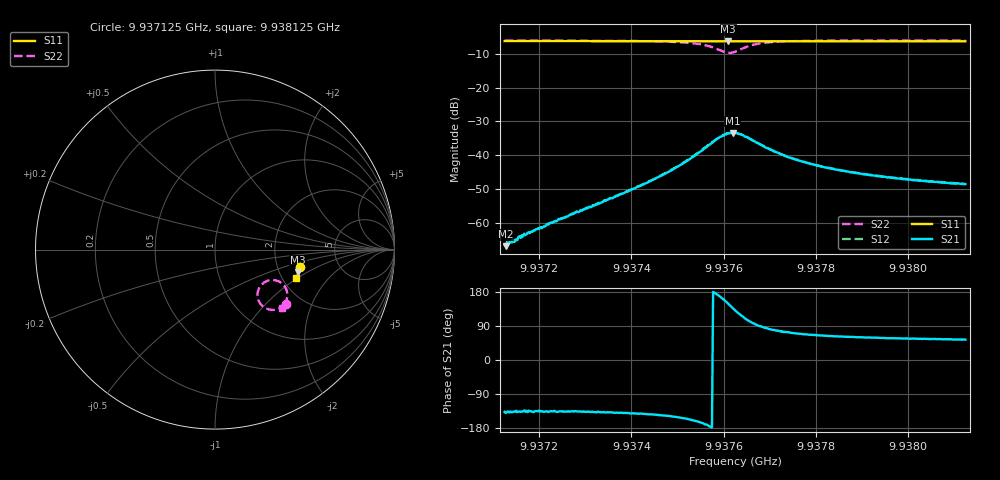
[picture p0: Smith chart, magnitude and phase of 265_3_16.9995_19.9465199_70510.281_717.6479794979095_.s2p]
#  HZ  S  RI  R  50.00
! Rohde & Schwarz Vector Network Analyzer
! Rohde-Schwarz,ZNB20-2Port,1311601062101988,3.16
! Created: UTC 3/20/2024, 11:03:57 PM
! freq[Hz]  re:S11  im:S11  re:S21  im:S21  re:S12  im:S12  re:S22  im:S22
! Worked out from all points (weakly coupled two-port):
!   401 points, 9.937125 GHz to 9.938125 GHz, reference 50 ohm
!   highest |S21| = -33.38 dB at 9.93762 GHz (marker M1); lowest = -66.8 dB at 9.937127 GHz (marker M2)
!   lowest |S11| = -6.4 dB at 9.93761 GHz (marker M3), VSWR 2.84, Z = 126 - j41.6 ohm
!   |S11| at or under -10 dB: nowhere
!   |S22| runs from -9.8 to -6.1 dB; largest |S21 - S12| = 0.00094
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9.9371248e9  0.4746 -0.0956  -0.000348 -0.000324  -0.000331 -0.000328  0.3928 -0.3007
9.9371273e9  0.4746 -0.0957  -0.00035 -0.000292  -0.00033 -0.000336  0.3925 -0.301
9.9371448e9  0.4743 -0.0971  -0.000393 -0.000381  -0.000392 -0.000355  0.3914 -0.3024
9.9371573e9  0.474 -0.0979  -0.000452 -0.000438  -0.000455 -0.000453  0.3903 -0.3032
9.9371923e9  0.4735 -0.1001  -0.000569 -0.000575  -0.000579 -0.00059  0.3877 -0.3057
9.9372923e9  0.4714 -0.107  -0.00111 -0.00104  -0.00114 -0.00105  0.378 -0.3141
9.9374023e9  0.4691 -0.1143  -0.00244 -0.002  -0.00247 -0.00201  0.3613 -0.3253
9.9374598e9  0.4678 -0.1184  -0.00397 -0.0027  -0.00404 -0.00271  0.3456 -0.3318
9.9375048e9  0.4666 -0.1213  -0.00627 -0.00334  -0.0064 -0.00329  0.3242 -0.3356
9.9375573e9  0.4648 -0.1249  -0.0122 -0.00255  -0.0125 -0.00235  0.2758 -0.323
9.9375873e9  0.4634 -0.1264  -0.0175 0.00246  -0.0177 0.00303  0.2402 -0.276
9.9376098e9  0.4626 -0.1268  -0.0178 0.0108  -0.0178 0.0115  0.2488 -0.2095
9.9376198e9  0.4625 -0.1271  -0.0157 0.0146  -0.0154 0.0152  0.2721 -0.1846
9.9376248e9  0.4627 -0.1271  -0.0141 0.016  -0.0138 0.0166  0.2867 -0.176
9.9376373e9  0.4627 -0.1276  -0.00963 0.0178  -0.00923 0.0183  0.3249 -0.1695
9.9376523e9  0.4631 -0.1285  -0.00466 0.0178  -0.00436 0.0179  0.3611 -0.1802
9.9376823e9  0.4631 -0.1308  0.000394 0.0141  0.000855 0.0142  0.3952 -0.2169
9.9377374e9  0.4623 -0.1348  0.00272 0.00912  0.003 0.00921  0.4033 -0.261
9.9377924e9  0.4611 -0.1389  0.00298 0.00676  0.0031 0.00674  0.3983 -0.283
9.9378524e9  0.4596 -0.1428  0.00281 0.00532  0.00294 0.0053  0.3923 -0.2969
9.9379599e9  0.457 -0.1499  0.00252 0.00396  0.00262 0.00398  0.3826 -0.3119
9.9381249e9  0.4526 -0.1605  0.00222 0.00303  0.00227 0.00304  0.3709 -0.3265
